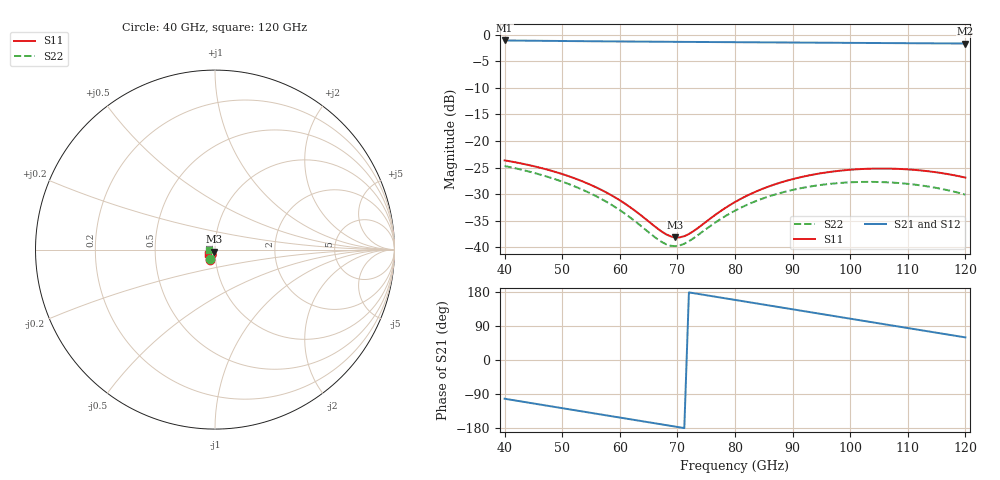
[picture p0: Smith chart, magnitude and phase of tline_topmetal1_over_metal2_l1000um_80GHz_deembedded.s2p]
! Created with skrf 2.0.1 (http://scikit-rf.org).
# GHz S DB R 50.0
!freq dBS11 angS11 dBS21 angS21 dBS12 angS12 dBS22 angS22
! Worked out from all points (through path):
!   101 points, 40 GHz to 120 GHz, reference 50 ohm
!   highest |S21| = -1.05 dB at 40 GHz (marker M1); lowest = -1.6 dB at 120 GHz (marker M2)
!   group delay of S21, straight-line fit = 6.88 ps
!   lowest |S11| = -38.2 dB at 69.6 GHz (marker M3), VSWR 1.03, Z = 49.4 - j1.05 ohm
!   |S11| at or under -10 dB: start of sweep to end of sweep
!   |S22| runs from -39.8 to -24.7 dB; largest |S21 - S12| = 7.4e-16
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40  -23.64 -114.9  -1.05 -102.2  -1.05 -102.2  -24.70 -117.4
46.4  -25.10 -131.3  -1.12 -118.1  -1.12 -118.1  -26.39 -134.8
49.6  -26.08 -138.7  -1.15 -126.1  -1.15 -126.1  -27.50 -142.8
53.6  -27.63 -146.8  -1.19 -136.0  -1.19 -136.0  -29.21 -151.6
56.8  -29.21 -152.0  -1.22 -144.0  -1.22 -144.0  -30.92 -157.1
60  -31.16 -154.9  -1.24 -151.9  -1.24 -151.9  -33.02 -160.3
64  -34.27 -152.3  -1.27 -161.8  -1.27 -161.8  -36.29 -157.2
67.2  -37.00 -139.4  -1.30 -169.7  -1.30 -169.7  -38.97 -142.9
68.8  -37.95 -127.5  -1.31 -173.7  -1.31 -173.7  -39.73 -130.6
69.6  -38.16 -120.5  -1.31 -175.7  -1.31 -175.7  -39.81 -123.7
70.4  -38.15 -113.3  -1.32 -177.7  -1.32 -177.7  -39.67 -117.0
72  -37.51 -100.2  -1.33 178.4  -1.33 178.4  -38.88 -105.5
76  -34.37 -82.6  -1.36 168.5  -1.36 168.5  -35.79 -91.6
80  -31.49 -79.9  -1.38 158.6  -1.38 158.6  -33.12 -91.0
83.2  -29.73 -82.2  -1.40 150.6  -1.40 150.6  -31.50 -94.6
86.4  -28.36 -86.5  -1.42 142.7  -1.42 142.7  -30.26 -99.8
93.6  -26.32 -99.0  -1.47 124.9  -1.47 124.9  -28.48 -114.5
97.6  -25.67 -106.7  -1.49 115.0  -1.49 115.0  -27.96 -123.3
100.8  -25.35 -113.0  -1.51 107.1  -1.51 107.1  -27.74 -130.5
107.2  -25.21 -125.6  -1.55 91.2  -1.55 91.2  -27.82 -144.9
113.6  -25.70 -137.6  -1.59 75.4  -1.59 75.4  -28.58 -158.8
120  -26.89 -148.3  -1.63 59.6  -1.63 59.6  -30.10 -171.2
